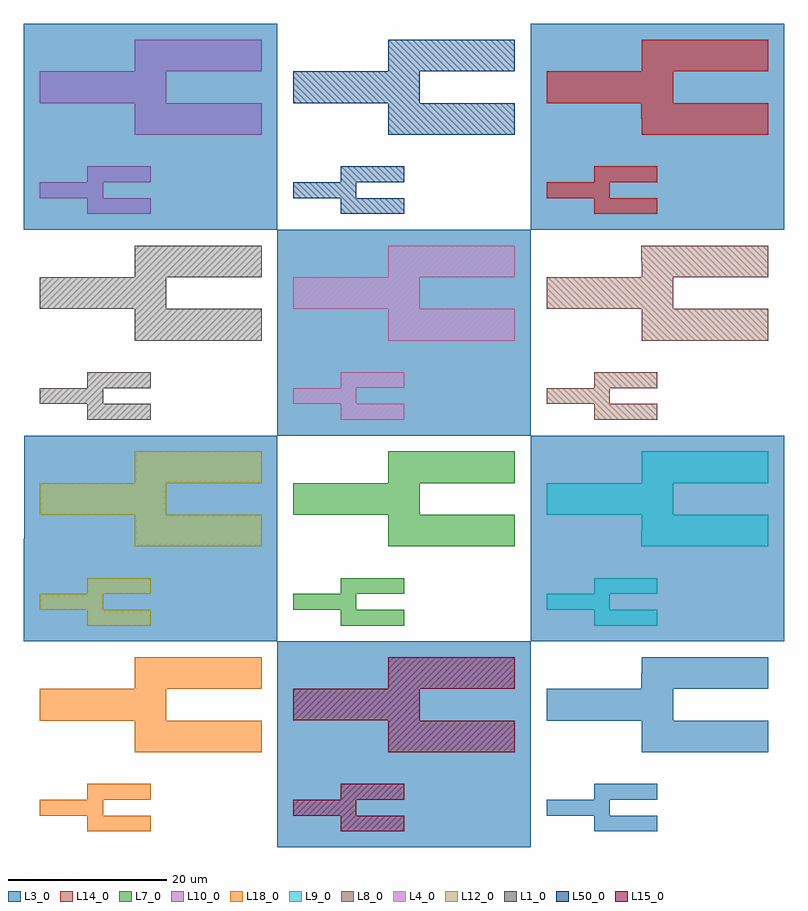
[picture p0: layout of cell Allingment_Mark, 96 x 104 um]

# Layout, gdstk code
import gdstk
lib = gdstk.Library(unit=1e-6, precision=1e-09)
def R(c, l, rs):  # rectangles x0, y0, x1, y1
    for r in rs: c.add(gdstk.rectangle(r[:2], r[2:], *l))
def P(c, l, *ps):  # polygons
    for p in ps: c.add(gdstk.Polygon(p, *l))
L1_0 = (1, 0)
L3_0 = (3, 0)
L4_0 = (4, 0)
L7_0 = (7, 0)
L8_0 = (8, 0)
L9_0 = (9, 0)
L10_0 = (10, 0)
L12_0 = (12, 0)
L14_0 = (14, 0)
L15_0 = (15, 0)
L18_0 = (18, 0)
L50_0 = (50, 0)

allingment_mark = lib.new_cell('Allingment_Mark')
P(allingment_mark, L1_0, [(123.456,-439.743),(123.456,-435.743),(111.456,-435.743),(111.456,-431.743),(123.456,-431.743),(123.457,-427.743),(139.456,-427.743),(139.456,-431.743),(127.456,-431.742),(127.456,-435.743),(139.456,-435.743),(139.456,-439.743)],
  [(117.456,-449.743),(117.456,-447.743),(111.456,-447.743),(111.456,-445.743),(117.456,-445.743),(117.456,-443.743),(125.456,-443.743),(125.456,-445.743),(119.456,-445.743),(119.456,-447.743),(125.456,-447.743),(125.456,-449.743)])
R(allingment_mark, L3_0, [(181.456,-497.743,189.456,-495.743), (173.456,-425.743,205.456,-399.743)])
P(allingment_mark, L3_0, [(173.456,-477.743),(173.455,-451.743),(205.456,-451.743),(205.456,-477.743)],
  [(187.455,-483.743),(187.456,-479.743),(203.457,-479.743),(203.456,-483.743)],
  [(187.456,-491.743),(187.456,-487.743),(203.457,-487.743),(203.456,-491.743)],
  [(175.457,-487.743),(175.456,-483.743),(191.456,-483.743),(191.456,-487.743)],
  [(181.456,-501.743),(181.456,-499.743),(189.456,-499.743),(189.457,-501.743)],
  [(175.456,-499.743),(175.457,-497.743),(183.456,-497.742),(183.456,-499.743)],
  [(141.456,-451.743),(141.456,-425.743),(173.456,-425.743),(173.455,-451.743)],
  [(141.456,-503.744),(141.456,-477.743),(173.456,-477.743),(173.456,-503.743)],
  [(109.456,-425.743),(109.456,-399.743),(141.456,-399.742),(141.456,-425.743)],
  [(109.456,-477.743),(109.457,-451.743),(141.456,-451.743),(141.456,-477.743)])
P(allingment_mark, L4_0, [(155.456,-439.743),(155.456,-435.743),(143.456,-435.743),(143.456,-431.743),(155.456,-431.742),(155.456,-427.743),(171.456,-427.743),(171.456,-431.743),(159.456,-431.743),(159.456,-435.743),(171.456,-435.743),(171.456,-439.743)],
  [(149.456,-449.743),(149.456,-447.743),(143.456,-447.743),(143.456,-445.743),(149.456,-445.743),(149.456,-443.743),(157.456,-443.743),(157.456,-445.743),(151.456,-445.742),(151.456,-447.744),(157.456,-447.743),(157.456,-449.743)])
P(allingment_mark, L7_0, [(155.456,-465.743),(155.456,-461.744),(143.456,-461.743),(143.456,-457.743),(155.456,-457.743),(155.456,-453.743),(171.456,-453.743),(171.456,-457.743),(159.456,-457.743),(159.456,-461.743),(171.456,-461.743),(171.456,-465.743)],
  [(149.456,-475.743),(149.456,-473.743),(143.456,-473.743),(143.456,-471.743),(149.456,-471.743),(149.456,-469.743),(157.456,-469.743),(157.456,-471.743),(151.456,-471.743),(151.456,-473.742),(157.456,-473.743),(157.456,-475.743)])
P(allingment_mark, L8_0, [(187.456,-439.743),(187.456,-435.743),(175.456,-435.743),(175.457,-431.743),(187.456,-431.743),(187.455,-427.743),(203.456,-427.743),(203.457,-431.743),(191.456,-431.743),(191.456,-435.743),(203.456,-435.743),(203.456,-439.743)],
  [(181.456,-449.743),(181.456,-447.743),(175.456,-447.743),(175.456,-445.743),(181.456,-445.743),(181.456,-443.743),(189.456,-443.743),(189.457,-445.743),(183.456,-445.743),(183.456,-447.743),(189.457,-447.743),(189.456,-449.743)])
P(allingment_mark, L9_0, [(187.455,-465.743),(187.456,-461.743),(175.457,-461.743),(175.456,-457.743),(187.456,-457.743),(187.456,-453.743),(203.456,-453.743),(203.456,-457.743),(191.456,-457.743),(191.456,-461.743),(203.457,-461.743),(203.456,-465.743)],
  [(181.456,-475.743),(181.456,-473.743),(175.456,-473.743),(175.456,-471.743),(181.456,-471.743),(181.456,-469.743),(189.456,-469.743),(189.456,-471.743),(183.456,-471.743),(183.456,-473.743),(189.457,-473.743),(189.457,-475.743)])
P(allingment_mark, L10_0, [(123.456,-413.743),(123.457,-409.743),(111.456,-409.743),(111.456,-405.743),(123.456,-405.743),(123.456,-401.743),(139.456,-401.743),(139.456,-405.743),(127.456,-405.744),(127.456,-409.743),(139.456,-409.743),(139.456,-413.743)],
  [(117.455,-423.743),(117.456,-421.743),(111.456,-421.743),(111.456,-419.743),(117.456,-419.743),(117.456,-417.743),(125.456,-417.743),(125.456,-419.743),(119.456,-419.743),(119.456,-421.743),(125.456,-421.743),(125.456,-423.743)])
P(allingment_mark, L12_0, [(123.457,-465.743),(123.456,-461.743),(111.456,-461.743),(111.456,-457.743),(123.456,-457.743),(123.456,-453.743),(139.456,-453.743),(139.456,-457.743),(127.456,-457.743),(127.456,-461.744),(139.456,-461.743),(139.456,-465.743)],
  [(117.456,-475.743),(117.456,-473.743),(111.456,-473.743),(111.456,-471.743),(117.456,-471.743),(117.455,-469.743),(125.456,-469.743),(125.456,-471.743),(119.456,-471.743),(119.456,-473.743),(125.456,-473.743),(125.456,-475.743)])
P(allingment_mark, L14_0, [(187.456,-413.743),(187.455,-409.743),(175.456,-409.743),(175.457,-405.743),(187.456,-405.743),(187.456,-401.743),(203.456,-401.743),(203.456,-405.744),(191.456,-405.743),(191.456,-409.743),(203.456,-409.743),(203.457,-413.743)],
  [(181.456,-423.743),(181.456,-421.743),(175.456,-421.743),(175.456,-419.743),(181.456,-419.743),(181.456,-417.743),(189.457,-417.743),(189.457,-419.743),(183.456,-419.743),(183.456,-421.743),(189.456,-421.743),(189.456,-423.743)])
P(allingment_mark, L15_0, [(155.456,-491.743),(155.456,-487.742),(143.456,-487.743),(143.456,-483.743),(155.456,-483.743),(155.456,-479.744),(171.456,-479.743),(171.456,-483.743),(159.455,-483.743),(159.456,-487.743),(171.456,-487.743),(171.456,-491.743)],
  [(149.456,-501.743),(149.456,-499.743),(143.456,-499.743),(143.456,-497.743),(149.456,-497.743),(149.456,-495.743),(157.456,-495.743),(157.456,-497.743),(151.456,-497.743),(151.456,-499.743),(157.456,-499.743),(157.456,-501.743)])
P(allingment_mark, L18_0, [(123.456,-491.743),(123.456,-487.743),(111.456,-487.743),(111.456,-483.743),(123.457,-483.743),(123.456,-479.743),(139.456,-479.743),(139.456,-483.743),(127.456,-483.743),(127.456,-487.742),(139.456,-487.743),(139.456,-491.743)],
  [(117.456,-501.743),(117.456,-499.743),(111.456,-499.743),(111.456,-497.743),(117.455,-497.743),(117.456,-495.743),(125.456,-495.743),(125.456,-497.743),(119.456,-497.743),(119.456,-499.743),(125.456,-499.743),(125.456,-501.743)])
P(allingment_mark, L50_0, [(171.456,-413.743),(155.456,-413.742),(155.456,-409.743),(143.456,-409.743),(143.456,-405.743),(155.456,-405.744),(155.456,-401.743),(171.456,-401.743),(171.456,-405.743),(159.456,-405.743),(159.455,-409.743),(171.456,-409.743)],
  [(149.456,-423.743),(149.456,-421.743),(143.456,-421.743),(143.456,-419.743),(149.456,-419.743),(149.456,-417.743),(157.456,-417.743),(157.456,-419.743),(151.456,-419.744),(151.456,-421.743),(157.456,-421.743),(157.456,-423.743)])

lib.write_gds('Allingment_Mark.gds')
